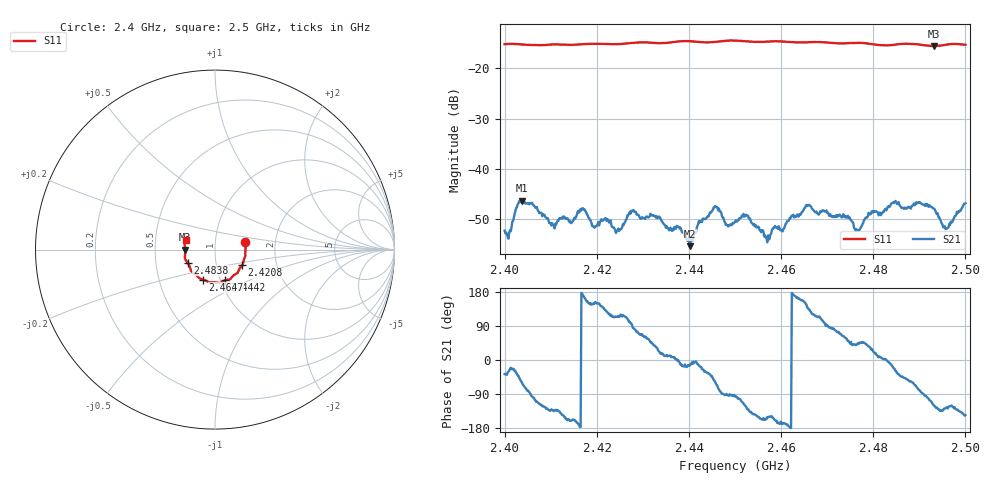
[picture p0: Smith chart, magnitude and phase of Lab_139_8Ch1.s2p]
# Hz S RI R 50
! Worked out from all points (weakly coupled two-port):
!   601 points, 2.4 GHz to 2.5 GHz, reference 50 ohm
!   highest |S21| = -46.27 dB at 2.4037 GHz (marker M1); lowest = -55.3 dB at 2.4402 GHz (marker M2)
!   lowest |S11| = -15.6 dB at 2.4932 GHz (marker M3), VSWR 1.40, Z = 35.8 - j0.0887 ohm
!   |S11| at or under -10 dB: start of sweep to end of sweep
!   S12 and S22 are empty: the file has one direction only
!   S11 on the Smith chart (normalised r, x): 2.4 GHz: 1.40, +0.12; 2.4208 GHz: 1.33, -0.24; 2.4442 GHz: 1.05, -0.37; 2.4647 GHz: 0.83, -0.29; 2.4838 GHz: 0.73, -0.11; 2.5 GHz: 0.72, +0.08
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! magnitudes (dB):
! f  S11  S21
! 2.4 GHz  -15.2  -52.2
! 2.4037 GHz  -15.3  -46.3
! 2.4107 GHz  -15.3  -51.1
! 2.4167 GHz  -15.2  -48.2
! 2.4208 GHz  -15.2  -50.3
! 2.4245 GHz  -15.2  -52.1
! 2.4275 GHz  -15.0  -48.3
! 2.4333 GHz  -15.0  -49.6
! 2.4402 GHz  -14.6  -55.3
! 2.4442 GHz  -14.9  -49.4
! 2.446 GHz  -14.8  -47.5
! 2.45 GHz  -14.5  -50.5
! 2.4523 GHz  -14.7  -49.2
! 2.4572 GHz  -14.7  -53.1
! 2.4647 GHz  -14.9  -48.4
! 2.4667 GHz  -14.8  -47.8
! 2.4767 GHz  -15.0  -52.1
! 2.4833 GHz  -15.5  -47.3
! 2.4838 GHz  -15.4  -47.0
! 2.4932 GHz  -15.6  -47.8
! 2.4958 GHz  -15.3  -51.7
! 2.5 GHz  -15.3  -46.8
